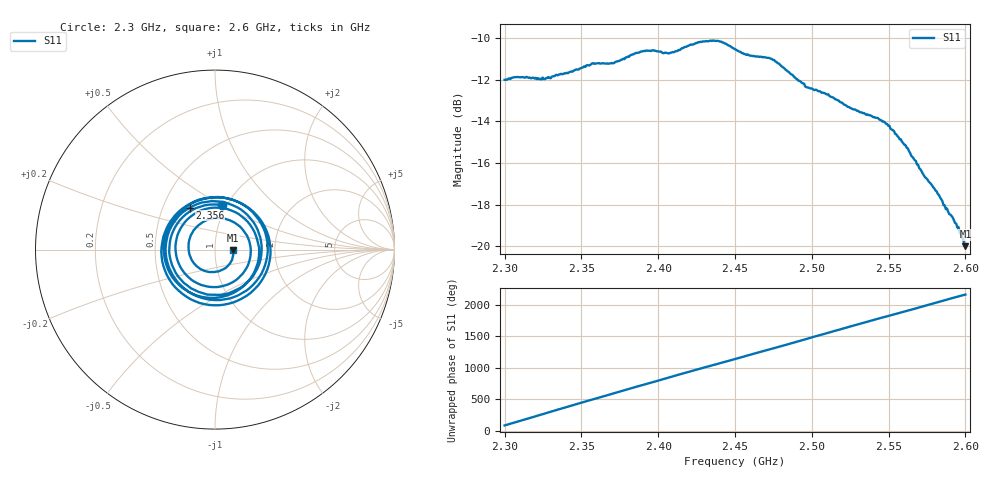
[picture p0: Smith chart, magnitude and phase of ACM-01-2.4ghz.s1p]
! NanoVNA-App
! Date: 2026-05-22 19:48:53
! Start: 2.3GHz Stop: 2.6GHz Points: 401
! S-Parameter data: F S11
# Hz S RI R 50
!  Frequency  S11_Real  S11_Imag
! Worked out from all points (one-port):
!   401 points, 2.3 GHz to 2.6 GHz, reference 50 ohm
!   lowest |S11| = -20.0 dB at 2.6 GHz (marker M1), VSWR 1.22, Z = 61.1 - j0.219 ohm
!   |S11| at or under -10 dB: start of sweep to end of sweep
!   S11 on the Smith chart (normalised r, x): 2.3 GHz: 0.95, +0.50; 2.356 GHz: 0.68, +0.35; 2.6 GHz: 1.22, -0.00
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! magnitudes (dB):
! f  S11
! 2.3 GHz  -12.0
! 2.308 GHz  -11.9
! 2.325 GHz  -11.9
! 2.337 GHz  -11.7
! 2.356 GHz  -11.3
! 2.37 GHz  -11.2
! 2.375 GHz  -11.1
! 2.391 GHz  -10.6
! 2.397 GHz  -10.6
! 2.406 GHz  -10.7
! 2.413 GHz  -10.6
! 2.426 GHz  -10.2
! 2.435 GHz  -10.1
! 2.441 GHz  -10.2
! 2.45 GHz  -10.5
! 2.458 GHz  -10.8
! 2.474 GHz  -11.0
! 2.487 GHz  -11.8
! 2.497 GHz  -12.4
! 2.509 GHz  -12.7
! 2.525 GHz  -13.3
! 2.547 GHz  -14.0
! 2.552 GHz  -14.4
! 2.562 GHz  -15.3
! 2.573 GHz  -16.6
! 2.581 GHz  -17.4
! 2.592 GHz  -18.8
! 2.6 GHz  -20.0
